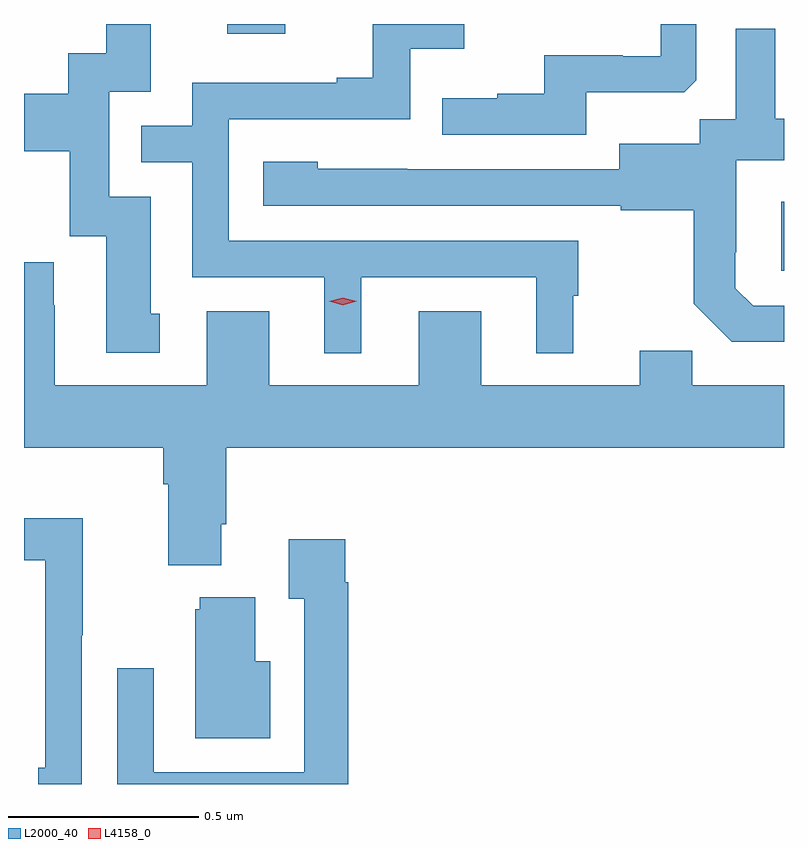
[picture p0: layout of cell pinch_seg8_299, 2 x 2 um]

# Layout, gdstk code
import gdstk
lib = gdstk.Library(unit=1e-6, precision=1e-09)
def R(c, l, rs):  # rectangles x0, y0, x1, y1
    for r in rs: c.add(gdstk.rectangle(r[:2], r[2:], *l))
def P(c, l, *ps):  # polygons
    for p in ps: c.add(gdstk.Polygon(p, *l))
L2000_40 = (2000, 40)
L4158_0 = (4158, 0)

pinch_seg8_299 = lib.new_cell('pinch_seg8_299')
R(pinch_seg8_299, L2000_40, [(558.479,1132.95,558.486,1133.131), (557.021,1133.574,557.173,1133.599), (556.486,1133.598,556.567,1133.599)])
P(pinch_seg8_299, L2000_40, [(556.843,1132.836),(556.819,1132.836),(556.819,1133.145),(556.71,1133.145),(556.71,1133.421),(556.819,1133.421),(556.819,1133.599),(556.703,1133.599),(556.703,1133.522),(556.602,1133.522),(556.602,1133.416),(556.486,1133.416),(556.486,1133.264),(556.607,1133.264),(556.607,1133.04),(556.703,1133.04),(556.703,1132.734),(556.843,1132.734)],
  [(557.965,1133.42),(558.223,1133.42),(558.255,1133.451),(558.255,1133.599),(558.162,1133.599),(558.162,1133.514),(558.062,1133.514),(558.062,1133.517),(557.855,1133.517),(557.855,1133.416),(557.731,1133.416),(557.731,1133.404),(557.587,1133.404),(557.587,1133.307),(557.965,1133.307)],
  [(557.374,1132.932),(557.834,1132.932),(557.834,1132.733),(557.932,1132.733),(557.932,1132.884),(557.944,1132.884),(557.944,1133.028),(557.025,1133.028),(557.025,1133.349),(557.502,1133.349),(557.502,1133.534),(557.644,1133.534),(557.644,1133.599),(557.404,1133.599),(557.404,1133.458),(557.309,1133.458),(557.309,1133.445),(556.929,1133.445),(556.929,1133.331),(556.795,1133.331),(556.795,1133.235),(556.929,1133.235),(556.929,1132.932),(557.276,1132.932),(557.276,1132.733),(557.374,1132.733)],
  [(558.486,1132.857),(558.405,1132.857),(558.358,1132.904),(558.358,1132.999),(558.36,1132.999),(558.36,1133.24),(558.486,1133.24),(558.486,1133.35),(558.463,1133.35),(558.463,1133.587),(558.359,1133.587),(558.359,1133.348),(558.264,1133.348),(558.264,1133.284),(558.053,1133.284),(558.053,1133.217),(557.495,1133.217),(557.495,1133.218),(557.259,1133.218),(557.259,1133.236),(557.115,1133.236),(557.115,1133.121),(558.057,1133.121),(558.057,1133.109),(558.249,1133.109),(558.249,1132.863),(558.349,1132.763),(558.486,1132.763)],
  [(558.486,1132.648),(558.245,1132.648),(558.245,1132.739),(558.107,1132.739),(558.107,1132.648),(557.689,1132.648),(557.689,1132.843),(557.525,1132.843),(557.525,1132.648),(557.131,1132.648),(557.131,1132.843),(556.967,1132.843),(556.967,1132.648),(556.567,1132.648),(556.567,1132.859),(556.564,1132.859),(556.564,1132.972),(556.486,1132.972),(556.486,1132.484),(556.853,1132.484),(556.853,1132.388),(556.865,1132.388),(556.865,1132.175),(557.005,1132.175),(557.005,1132.282),(557.018,1132.282),(557.018,1132.484),(558.486,1132.484)],
  [(556.638,1131.991),(556.641,1131.991),(556.641,1132.298),(556.486,1132.298),(556.486,1132.188),(556.542,1132.188),(556.542,1131.642),(556.523,1131.642),(556.523,1131.599),(556.638,1131.599)],
  [(557.339,1132.13),(557.332,1132.13),(557.332,1132.243),(557.183,1132.243),(557.183,1132.087),(557.223,1132.087),(557.223,1131.63),(556.827,1131.63),(556.827,1131.904),(556.731,1131.904),(556.731,1131.599),(557.339,1131.599)],
  [(557.134,1131.922),(557.095,1131.922),(557.095,1132.09),(556.949,1132.09),(556.949,1132.059),(556.937,1132.059),(556.937,1131.719),(557.134,1131.719)])
P(pinch_seg8_299, L4158_0, [(557.325,1132.859),(557.289,1132.869),(557.289,1132.869),(557.289,1132.869),(557.325,1132.879),(557.361,1132.869),(557.361,1132.869),(557.361,1132.869)])

lib.write_gds('pinch_seg8_299.gds')
